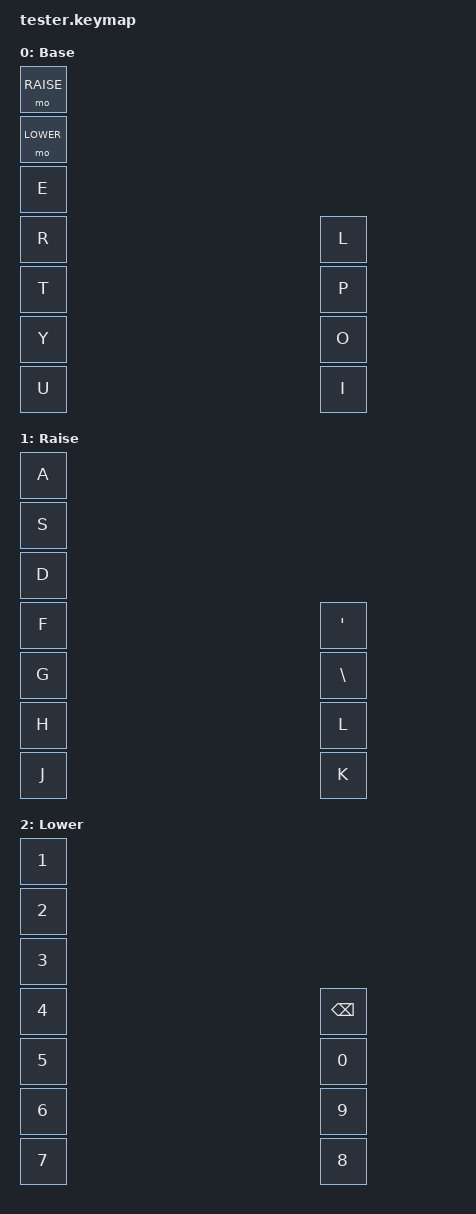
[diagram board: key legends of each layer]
#include <behaviors.dtsi>
#include <dt-bindings/zmk/keys.h>

#define BASE 0
#define RAISE 1
#define LOWER 2

/ {
    keymap {
        compatible = "zmk,keymap";

        default_layer {
            display-name = "Base";
            bindings = <&mo RAISE
                        &mo LOWER
                        &kp E
                        &kp R
                        &kp T
                        &kp Y
                        &kp U
                        &kp I
                        &kp O
                        &kp P
                        &kp L>;
        };
        raise_layer {
            display-name = "Raise";
            bindings = <&kp A
                        &kp S
                        &kp D
                        &kp F
                        &kp G
                        &kp H
                        &kp J
                        &kp K
                        &kp L
                        &kp BACKSLASH
                        &kp SQT>;
        };
        lower_layer {
            display-name = "Lower";
            bindings = <&kp N1
                        &kp N2
                        &kp N3
                        &kp N4
                        &kp N5
                        &kp N6
                        &kp N7
                        &kp N8
                        &kp N9
                        &kp N0
                        &kp BSPC>;
        };
    };
};
